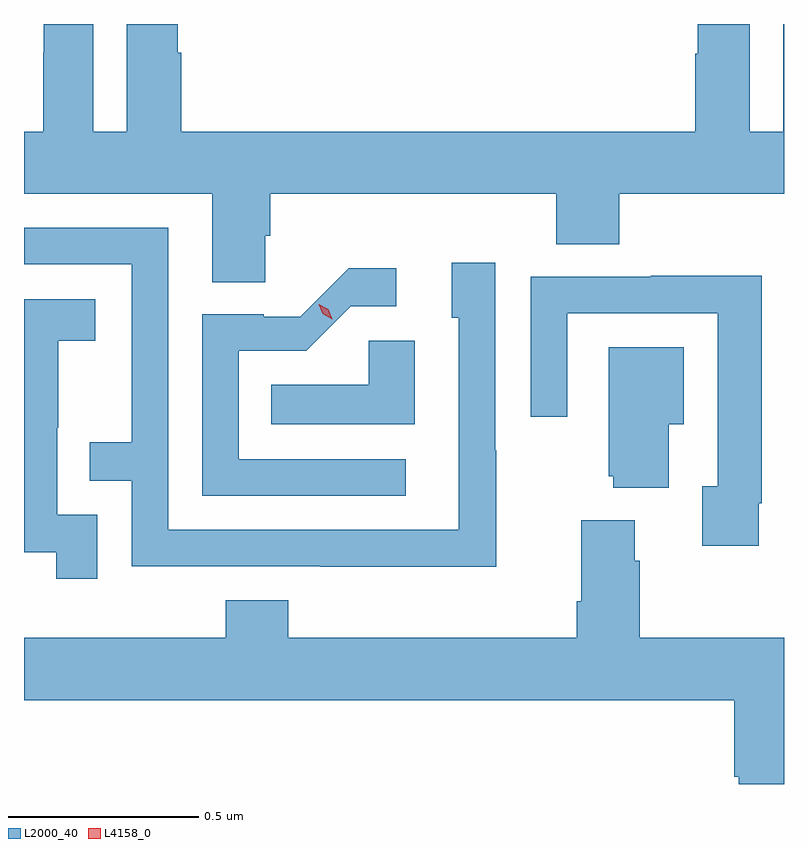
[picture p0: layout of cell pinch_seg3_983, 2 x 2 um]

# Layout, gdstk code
import gdstk
lib = gdstk.Library(unit=1e-6, precision=1e-09)
def P(c, l, *ps):  # polygons
    for p in ps: c.add(gdstk.Polygon(p, *l))
L2000_40 = (2000, 40)
L4158_0 = (4158, 0)

pinch_seg3_983 = lib.new_cell('pinch_seg3_983')
P(pinch_seg3_983, L2000_40, [(495.649,715.458),(495.662,715.458),(495.662,715.568),(496.415,715.568),(496.415,715.435),(496.58,715.435),(496.58,715.568),(497.014,715.568),(497.014,716.015),(497.012,716.015),(497.012,715.732),(496.924,715.732),(496.924,716.015),(496.787,716.015),(496.787,715.937),(496.781,715.937),(496.781,715.732),(495.428,715.732),(495.428,715.94),(495.418,715.94),(495.418,716.015),(495.284,716.015),(495.284,715.732),(495.196,715.732),(495.196,716.015),(495.066,716.015),(495.066,715.94),(495.065,715.94),(495.065,715.732),(495.014,715.732),(495.014,715.568),(495.509,715.568),(495.509,715.336),(495.649,715.336)],
  [(496.257,714.893),(496.254,714.893),(496.254,715.387),(496.139,715.387),(496.139,715.242),(496.158,715.242),(496.158,714.684),(495.393,714.684),(495.393,715.479),(495.014,715.479),(495.014,715.383),(495.297,715.383),(495.297,714.914),(495.187,714.914),(495.187,714.813),(495.297,714.813),(495.297,714.588),(495.793,714.588),(495.793,714.587),(496.257,714.587)],
  [(496.018,714.87),(495.579,714.87),(495.579,715.155),(495.757,715.155),(495.874,715.272),(495.994,715.272),(495.994,715.372),(495.868,715.372),(495.741,715.245),(495.645,715.245),(495.645,715.251),(495.483,715.251),(495.483,714.774),(496.018,714.774)],
  [(496.948,714.754),(496.955,714.754),(496.955,715.352),(496.663,715.352),(496.663,715.35),(496.347,715.35),(496.347,714.981),(496.443,714.981),(496.443,715.254),(496.839,715.254),(496.839,714.798),(496.799,714.798),(496.799,714.642),(496.948,714.642)],
  [(495.207,714.723),(495.102,714.723),(495.102,714.953),(495.104,714.953),(495.104,715.181),(495.202,715.181),(495.202,715.291),(495.014,715.291),(495.014,714.625),(495.099,714.625),(495.099,714.555),(495.207,714.555)],
  [(496.042,715.181),(495.921,715.181),(495.921,715.066),(495.664,715.066),(495.664,714.962),(496.042,714.962)],
  [(496.711,714.962),(496.75,714.962),(496.75,715.165),(496.553,715.165),(496.553,714.825),(496.565,714.825),(496.565,714.794),(496.711,714.794)],
  [(497.014,714.4),(496.634,714.4),(496.634,714.602),(496.621,714.602),(496.621,714.709),(496.481,714.709),(496.481,714.496),(496.469,714.496),(496.469,714.4),(495.71,714.4),(495.71,714.499),(495.545,714.499),(495.545,714.4),(495.014,714.4),(495.014,714.236),(496.883,714.236),(496.883,714.034),(496.895,714.034),(496.895,714.015),(497.014,714.015)])
P(pinch_seg3_983, L4158_0, [(495.825,715.238),(495.8,715.252),(495.79,715.278),(495.79,715.278),(495.79,715.278),(495.815,715.265),(495.825,715.238),(495.825,715.238)])

lib.write_gds('pinch_seg3_983.gds')
